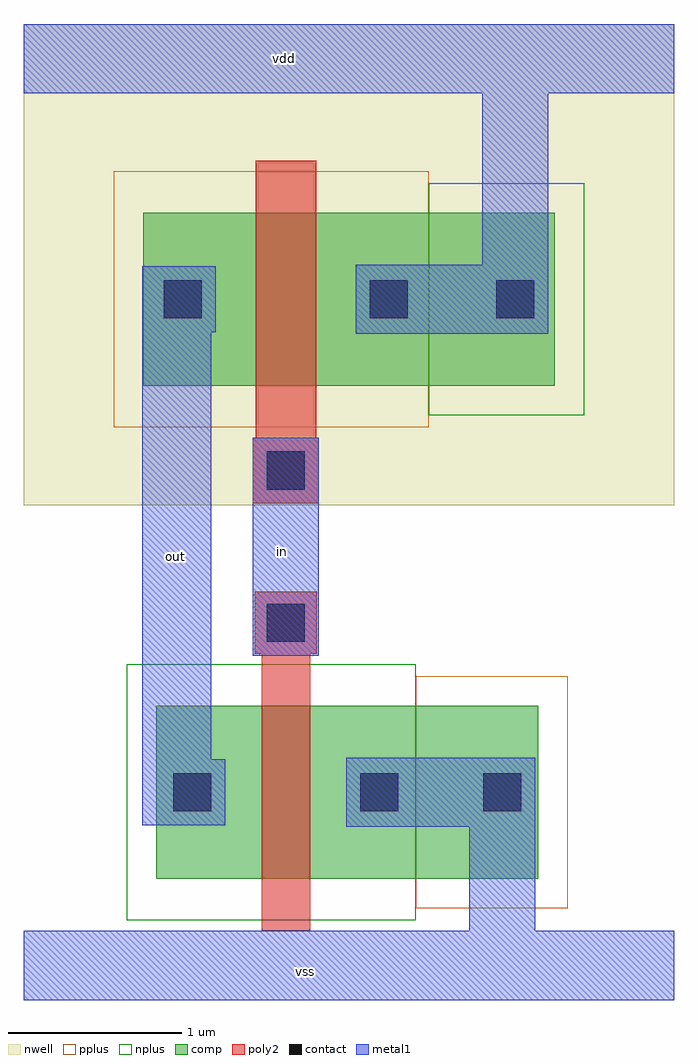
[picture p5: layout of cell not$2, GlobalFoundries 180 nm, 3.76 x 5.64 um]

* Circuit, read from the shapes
.subckt not$2 in out vdd vss
XM1 vss in out vss nfet_03v3 w=1u l=0.28u
XM2 vdd in out vdd pfet_03v3 w=1u l=0.35u
.ends

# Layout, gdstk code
import gdstk
lib = gdstk.Library(unit=1e-6, precision=5e-09)
def R(c, l, rs):  # rectangles x0, y0, x1, y1
    for r in rs: c.add(gdstk.rectangle(r[:2], r[2:], *l))
def P(c, l, *ps):  # polygons
    for p in ps: c.add(gdstk.Polygon(p, *l))
nwell = (21, 0)
comp = (22, 0)
poly2 = (30, 0)
pplus = (31, 0)
nplus = (32, 0)
contact = (33, 0)
metal1 = (34, 0)

pfet_23 = lib.new_cell('pfet$23')
R(pfet_23, nwell, [(-1.15,-0.69,2.61,1.69)])
R(pfet_23, comp, [(-0.46,0,0,1), (0,0,0.73,1), (0.73,0,1.19,1), (1.19,0,1.92,1)])
R(pfet_23, poly2, [(0.175,-0.68,0.555,-0.3), (0.19,-0.3,0.54,1.3)])
R(pfet_23, pplus, [(-0.63,-0.24,1.19,1.24)])
R(pfet_23, nplus, [(1.19,-0.17,2.09,1.17)])
R(pfet_23, contact, [(0.255,-0.6,0.475,-0.38), (-0.34,0.39,-0.12,0.61), (0.85,0.39,1.07,0.61), (1.58,0.39,1.8,0.61)])
R(pfet_23, metal1, [(0.175,-0.68,0.555,-0.3), (-0.42,0.31,-0.04,0.69), (0.77,0.31,1.15,0.69), (1.5,0.31,1.88,0.69)])

nfet_36 = lib.new_cell('nfet$36')
R(nfet_36, comp, [(-0.42,0,0,1), (0,0,0.66,1), (0.66,0,1.08,1), (1.08,0,1.79,1)])
R(nfet_36, poly2, [(0.19,-0.3,0.47,1.3), (0.15,1.3,0.51,1.66)])
R(nfet_36, pplus, [(1.08,-0.17,1.96,1.17)])
R(nfet_36, nplus, [(-0.59,-0.24,1.08,1.24)])
R(nfet_36, contact, [(-0.32,0.39,-0.1,0.61), (0.76,0.39,0.98,0.61), (1.47,0.39,1.69,0.61), (0.22,1.37,0.44,1.59)])
R(nfet_36, metal1, [(-0.4,0.31,-0.02,0.69), (0.68,0.31,1.06,0.69), (1.39,0.31,1.77,0.69), (0.14,1.29,0.52,1.67)])

via_dev_54 = lib.new_cell('via_dev$54')

not_2 = lib.new_cell('not$2')
R(not_2, nwell, [(-1.325,0.9,2.435,1.3)])
R(not_2, metal1, [(-0.64,-3.33,-0.24,-0.1), (0,-1.97,0.38,-1.47)])
P(not_2, metal1, [(0.595,-0.49),(0.595,-0.09),(1.325,-0.09),(1.325,0.9),(-1.325,0.9),(-1.325,1.3),(2.435,1.3),(2.435,0.9),(1.705,0.9),(1.705,-0.49)],
  [(-1.325,-4.34),(-1.325,-3.94),(1.25,-3.94),(1.25,-3.34),(0.54,-3.34),(0.54,-2.94),(1.63,-2.94),(1.63,-3.94),(2.435,-3.94),(2.435,-4.34)])
not_2.add(gdstk.Reference(pfet_23, (-0.175,-0.79)))
not_2.add(gdstk.Reference(nfet_36, (-0.14,-3.64)))
not_2.add(gdstk.Reference(via_dev_54, (-0.94,-1.74)))
not_2.add(gdstk.Label('out', (-0.445,-1.78), layer=34, texttype=10))
not_2.add(gdstk.Label('in', (0.17,-1.75), layer=34, texttype=10))
not_2.add(gdstk.Label('vss', (0.305,-4.175), layer=34, texttype=10))
not_2.add(gdstk.Label('vdd', (0.18,1.1), layer=34, texttype=10))

lib.write_gds('not_2.gds')
